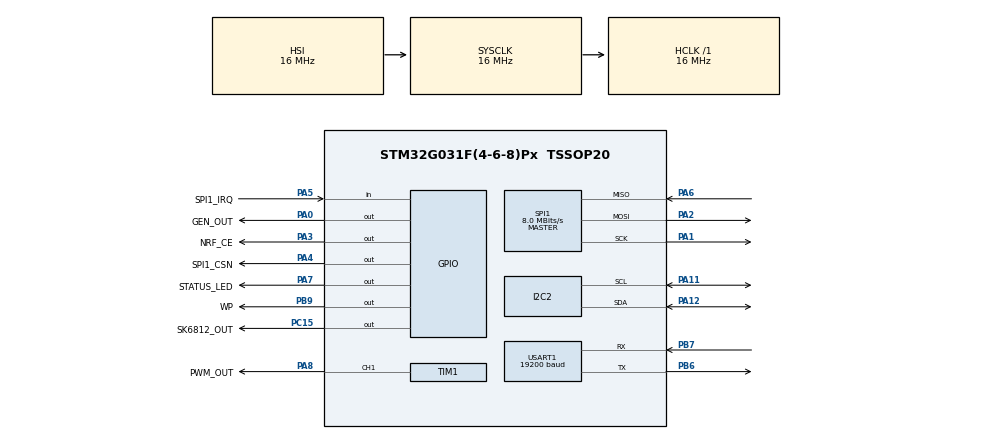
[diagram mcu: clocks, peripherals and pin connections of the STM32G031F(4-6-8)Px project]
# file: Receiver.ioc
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Mcu.Family=STM32G0
Mcu.Name=STM32G031F(4-6-8)Px
Mcu.Package=TSSOP20
PA0.GPIO_Label=GEN_OUT
PA0.Signal=GPIO_Output
PA1.Mode=Full_Duplex_Master
PA1.Signal=SPI1_SCK
PA11\ [PA9].GPIO_Pu=GPIO_PULLUP
PA11\ [PA9].GPIO_Speed=GPIO_SPEED_FREQ_VERY_HIGH
PA11\ [PA9].Mode=I2C
PA11\ [PA9].Signal=I2C2_SCL
PA12\ [PA10].GPIO_Pu=GPIO_PULLUP
PA12\ [PA10].GPIO_Speed=GPIO_SPEED_FREQ_VERY_HIGH
PA12\ [PA10].Mode=I2C
PA12\ [PA10].Signal=I2C2_SDA
PA13.Mode=Serial_Wire
PA13.Signal=SYS_SWDIO
PA14-BOOT0.Mode=Serial_Wire
PA14-BOOT0.Signal=SYS_SWCLK
PA14-BOOT0__PA15.StandardMode=true
PA2.Mode=Full_Duplex_Master
PA2.Signal=SPI1_MOSI
PA3.GPIO_Label=NRF_CE
PA3.Signal=GPIO_Output
PA4.GPIO_Label=SPI1_CSN
PA4.Signal=GPIO_Output
PA5.GPIO_Label=SPI1_IRQ
PA5.Signal=GPIO_Input
PA6.Mode=Full_Duplex_Master
PA6.Signal=SPI1_MISO
PA7.GPIO_Label=STATUS_LED
PA7.Signal=GPIO_Output
PA8.GPIO_Label=PWM_OUT
PA8.Signal=S_TIM1_CH1
PB0__PB1__PB2__PA8.StandardMode=true
PB3__PB4__PB5__PB6.StandardMode=true
PB6.Mode=Asynchronous
PB6.Signal=USART1_TX
PB7.Mode=Asynchronous
PB7.Signal=USART1_RX
PB7__PB8.StandardMode=true
PB9.GPIO_Label=WP
PB9.Signal=GPIO_Output
PC14-OSC32_IN\ (PC14)__PB9.StandardMode=true
PC15-OSC32_OUT\ (PC15).GPIO_Label=SK6812_OUT
PC15-OSC32_OUT\ (PC15).Signal=GPIO_Output
ProjectManager.HeapSize=0x200
ProjectManager.StackSize=0x400
ProjectManager.TargetToolchain=STM32CubeIDE
RCC.AHBFreq_Value=16000000
RCC.CortexFreq_Value=16000000
RCC.EXTERNAL_CLOCK_VALUE=12288000
RCC.HCLKFreq_Value=16000000
RCC.HSE_VALUE=8000000
RCC.HSI_VALUE=16000000
RCC.LSE_VALUE=32768
RCC.SYSCLKFreq_VALUE=16000000
RCC.VCOOutputFreq_Value=128000000
SH.S_TIM1_CH1.0=TIM1_CH1,PWM Generation1 CH1
SPI1.CalculateBaudRate=8.0 MBits/s
SPI1.Direction=SPI_DIRECTION_2LINES
SPI1.Mode=SPI_MODE_MASTER
SPI1.VirtualType=VM_MASTER
TIM1.Channel-PWM\ Generation1\ CH1=TIM_CHANNEL_1
USART1.BaudRate=19200
USART1.VirtualMode-Asynchronous=VM_ASYNC
board=custom

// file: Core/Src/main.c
/* USER CODE BEGIN Header */
#define NRF24L01P_CMD_R_REGISTER                  0b00000000
#define NRF24L01P_CMD_W_REGISTER                  0b00100000
/**
  ******************************************************************************
  * @file           : main.c
  * @brief          : Main program body
  ******************************************************************************
  * @attention
  *
  * Copyright (c) 2024 STMicroelectronics.
  * All rights reserved.
  *
  * This software is licensed under terms that can be found in the LICENSE file
  * in the root directory of this software component.
  * If no LICENSE file comes with this software, it is provided AS-IS.
  *
  ******************************************************************************
  */
/* USER CODE END Header */
#include "main.h"
#include "i2c.h"
#include "spi.h"
#include "tim.h"
#include "usart.h"
#include "gpio.h"

/* USER CODE BEGIN Includes */
#include "NRF24L01.h"
#include "VESC.h"
#include <string.h>
/* USER CODE END Includes */

void SystemClock_Config(void);
/* USER CODE BEGIN PFP */
//// CRC Table
//const unsigned short crc16_tab[] = { 0x0000, 0x1021, 0x2042, 0x3063, 0x4084,
//		0x50a5, 0x60c6, 0x70e7, 0x8108, 0x9129, 0xa14a, 0xb16b, 0xc18c, 0xd1ad,
//		0xe1ce, 0xf1ef, 0x1231, 0x0210, 0x3273, 0x2252, 0x52b5, 0x4294, 0x72f7,
//		0x62d6, 0x9339, 0x8318, 0xb37b, 0xa35a, 0xd3bd, 0xc39c, 0xf3ff, 0xe3de,
//		0x2462, 0x3443, 0x0420, 0x1401, 0x64e6, 0x74c7, 0x44a4, 0x5485, 0xa56a,
//		0xb54b, 0x8528, 0x9509, 0xe5ee, 0xf5cf, 0xc5ac, 0xd58d, 0x3653, 0x2672,
//		0x1611, 0x0630, 0x76d7, 0x66f6, 0x5695, 0x46b4, 0xb75b, 0xa77a, 0x9719,
//		0x8738, 0xf7df, 0xe7fe, 0xd79d, 0xc7bc, 0x48c4, 0x58e5, 0x6886, 0x78a7,
//		0x0840, 0x1861, 0x2802, 0x3823, 0xc9cc, 0xd9ed, 0xe98e, 0xf9af, 0x8948,
//		0x9969, 0xa90a, 0xb92b, 0x5af5, 0x4ad4, 0x7ab7, 0x6a96, 0x1a71, 0x0a50,
//		0x3a33, 0x2a12, 0xdbfd, 0xcbdc, 0xfbbf, 0xeb9e, 0x9b79, 0x8b58, 0xbb3b,
//		0xab1a, 0x6ca6, 0x7c87, 0x4ce4, 0x5cc5, 0x2c22, 0x3c03, 0x0c60, 0x1c41,
//		0xedae, 0xfd8f, 0xcdec, 0xddcd, 0xad2a, 0xbd0b, 0x8d68, 0x9d49, 0x7e97,
//		0x6eb6, 0x5ed5, 0x4ef4, 0x3e13, 0x2e32, 0x1e51, 0x0e70, 0xff9f, 0xefbe,
//		0xdfdd, 0xcffc, 0xbf1b, 0xaf3a, 0x9f59, 0x8f78, 0x9188, 0x81a9, 0xb1ca,
//		0xa1eb, 0xd10c, 0xc12d, 0xf14e, 0xe16f, 0x1080, 0x00a1, 0x30c2, 0x20e3,
//		0x5004, 0x4025, 0x7046, 0x6067, 0x83b9, 0x9398, 0xa3fb, 0xb3da, 0xc33d,
//		0xd31c, 0xe37f, 0xf35e, 0x02b1, 0x1290, 0x22f3, 0x32d2, 0x4235, 0x5214,
//		0x6277, 0x7256, 0xb5ea, 0xa5cb, 0x95a8, 0x8589, 0xf56e, 0xe54f, 0xd52c,
//		0xc50d, 0x34e2, 0x24c3, 0x14a0, 0x0481, 0x7466, 0x6447, 0x5424, 0x4405,
//		0xa7db, 0xb7fa, 0x8799, 0x97b8, 0xe75f, 0xf77e, 0xc71d, 0xd73c, 0x26d3,
//		0x36f2, 0x0691, 0x16b0, 0x6657, 0x7676, 0x4615, 0x5634, 0xd94c, 0xc96d,
//		0xf90e, 0xe92f, 0x99c8, 0x89e9, 0xb98a, 0xa9ab, 0x5844, 0x4865, 0x7806,
//		0x6827, 0x18c0, 0x08e1, 0x3882, 0x28a3, 0xcb7d, 0xdb5c, 0xeb3f, 0xfb1e,
//		0x8bf9, 0x9bd8, 0xabbb, 0xbb9a, 0x4a75, 0x5a54, 0x6a37, 0x7a16, 0x0af1,
//		0x1ad0, 0x2ab3, 0x3a92, 0xfd2e, 0xed0f, 0xdd6c, 0xcd4d, 0xbdaa, 0xad8b,
//		0x9de8, 0x8dc9, 0x7c26, 0x6c07, 0x5c64, 0x4c45, 0x3ca2, 0x2c83, 0x1ce0,
//		0x0cc1, 0xef1f, 0xff3e, 0xcf5d, 0xdf7c, 0xaf9b, 0xbfba, 0x8fd9, 0x9ff8,
//		0x6e17, 0x7e36, 0x4e55, 0x5e74, 0x2e93, 0x3eb2, 0x0ed1, 0x1ef0 };
//
//unsigned short crc16(unsigned char *buf, unsigned int len) {
//	unsigned int i;
//	unsigned short cksum = 0;
//	for (i = 0; i < len; i++) {
//		cksum = crc16_tab[(((cksum >> 8) ^ *buf++) & 0xFF)] ^ (cksum << 8);
//	}
//	return cksum;
//}

/* USER CODE END PFP */

/* USER CODE BEGIN 0 */
uint8_t RX_addr[] = {0xEE, 0xDD, 0xCC, 0xBB, 0xAA};
uint8_t TX_addr[] = {0x99, 0x88, 0x77, 0x66, 0x55};
uint8_t RX_data[32];
uint8_t TX_data[32] = {0};

/* USER CODE END 0 */

int main(void)
{

  /* MCU Configuration--------------------------------------------------------*/

  /* Reset of all peripherals, Initializes the Flash interface and the Systick. */
  HAL_Init();

  /* Configure the system clock */
  SystemClock_Config();

  /* Initialize all configured peripherals */
  MX_GPIO_Init();
  MX_I2C2_Init();
  MX_SPI1_Init();
  MX_TIM1_Init();
  MX_USART1_UART_Init();
  /* USER CODE BEGIN 2 */

//  	uint8_t data[5] ={0};
//	HAL_GPIO_WritePin(STATUS_LED_GPIO_Port, STATUS_LED_Pin, GPIO_PIN_RESET);
//
////	write_register(0x10);
//	read_reg_multi(0x10, data, 5);
//	if(data[0] == 0xE7)
//	  HAL_GPIO_WritePin(STATUS_LED_GPIO_Port, STATUS_LED_Pin, GPIO_PIN_SET);

  nrf_init();
  nrf_rx_mode(RX_addr, 10);

  /* USER CODE END 2 */

  /* Infinite loop */
  /* USER CODE BEGIN WHILE */
//Used for the FRAM
//  uint8_t tx_buf[3] = {0x05, 0x00, 0x00};
//  uint8_t offset[1] = {0x05};
//  uint8_t rx_buf[2] = {0x00, 0x00};
//  HAL_GPIO_WritePin(WP_GPIO_Port, WP_Pin, GPIO_PIN_RESET);
//
//  HAL_I2C_Master_Transmit(&hi2c2, 0xA0, offset, 1, HAL_MAX_DELAY);
//  HAL_I2C_Master_Receive(&hi2c2, 0xA0, rx_buf, 2, HAL_MAX_DELAY);
//
//  tx_buf[2] = rx_buf[1];
//  tx_buf[1] = rx_buf[0];

  HAL_GPIO_WritePin(STATUS_LED_GPIO_Port, STATUS_LED_Pin, GPIO_PIN_RESET);
  HAL_Delay(1000);

  float vesc_current = 0;
  uint16_t adc_read = 3300;

  while (1)
  {

	  if(is_data_availible(1) == 1){
		  nrf_receive(RX_data);

		  HAL_GPIO_TogglePin(STATUS_LED_GPIO_Port, STATUS_LED_Pin);

		  adc_read = (uint16_t)RX_data[1];
		  adc_read = adc_read << 8;
		  adc_read |= (uint16_t)(RX_data[2]) & 0x0F;

		  if(adc_read <= 2200){
			  vesc_current = 0.0;
		  }
		  else if (adc_read > 2200){
			  vesc_current = (float)((adc_read - 2200) * 0.005263158);
		  }
		  else if (adc_read > 3400){
			  vesc_current = 0.0;
		  }

		  if(vesc_current > 10){
			  vesc_current = 10;
		  }
		  VESCSetCurrent(vesc_current, 0);
		  VESCSetCurrent(vesc_current, 89);

//		  nrf_tx_mode(TX_addr, 10);
//		  int trans_stat = nrf_transmit(TX_data);
//		  TX_data[0]++;
	  }

//Used for the FRAM
//	  HAL_GPIO_WritePin(STATUS_LED_GPIO_Port,    STATUS_LED_Pin, GPIO_PIN_SET);
//	  HAL_Delay(500);
//	  HAL_GPIO_WritePin(STATUS_LED_GPIO_Port, STATUS_LED_Pin, GPIO_PIN_RESET);
//	  HAL_Delay(500);
//
//	  HAL_I2C_Master_Transmit(&hi2c2, 0xA0, tx_buf, 3, HAL_MAX_DELAY);
//	  HAL_I2C_Master_Transmit(&hi2c2, 0xA0, offset, 1, HAL_MAX_DELAY);
//	  HAL_I2C_Master_Receive(&hi2c2, 0xA0, rx_buf, 2, HAL_MAX_DELAY);
//
//	  tx_buf[2]++;

//	  VESCGetFWVersion(0);
//	  HAL_Delay(1000);
//	  VESCGetValues(0);

//	  HAL_Delay(1000);
//	  VESCSetCurrent(0, 0);
//	  VESCSetCurrent(3, 89);
//	  HAL_Delay(1000);
//	  VESCSetCurrent(0, 89);
//	  VESCSetCurrent(3, 0);

    /* USER CODE END WHILE */

  }
}

void SystemClock_Config(void)
{
  RCC_OscInitTypeDef RCC_OscInitStruct = {0};
  RCC_ClkInitTypeDef RCC_ClkInitStruct = {0};

  /** Configure the main internal regulator output voltage
  */
  HAL_PWREx_ControlVoltageScaling(PWR_REGULATOR_VOLTAGE_SCALE1);

  /** Initializes the RCC Oscillators according to the specified parameters
  * in the RCC_OscInitTypeDef structure.
  */
  RCC_OscInitStruct.OscillatorType = RCC_OSCILLATORTYPE_HSI;
  RCC_OscInitStruct.HSIState = RCC_HSI_ON;
  RCC_OscInitStruct.HSIDiv = RCC_HSI_DIV1;
  RCC_OscInitStruct.HSICalibrationValue = RCC_HSICALIBRATION_DEFAULT;
  RCC_OscInitStruct.PLL.PLLState = RCC_PLL_NONE;
  if (HAL_RCC_OscConfig(&RCC_OscInitStruct) != HAL_OK)
  {
    Error_Handler();
  }

  /** Initializes the CPU, AHB and APB buses clocks
  */
  RCC_ClkInitStruct.ClockType = RCC_CLOCKTYPE_HCLK|RCC_CLOCKTYPE_SYSCLK
                              |RCC_CLOCKTYPE_PCLK1;
  RCC_ClkInitStruct.SYSCLKSource = RCC_SYSCLKSOURCE_HSI;
  RCC_ClkInitStruct.AHBCLKDivider = RCC_SYSCLK_DIV1;
  RCC_ClkInitStruct.APB1CLKDivider = RCC_HCLK_DIV1;

  if (HAL_RCC_ClockConfig(&RCC_ClkInitStruct, FLASH_LATENCY_0) != HAL_OK)
  {
    Error_Handler();
  }
}

void Error_Handler(void)
{
  __disable_irq();
  while (1)
  {
  }
}
